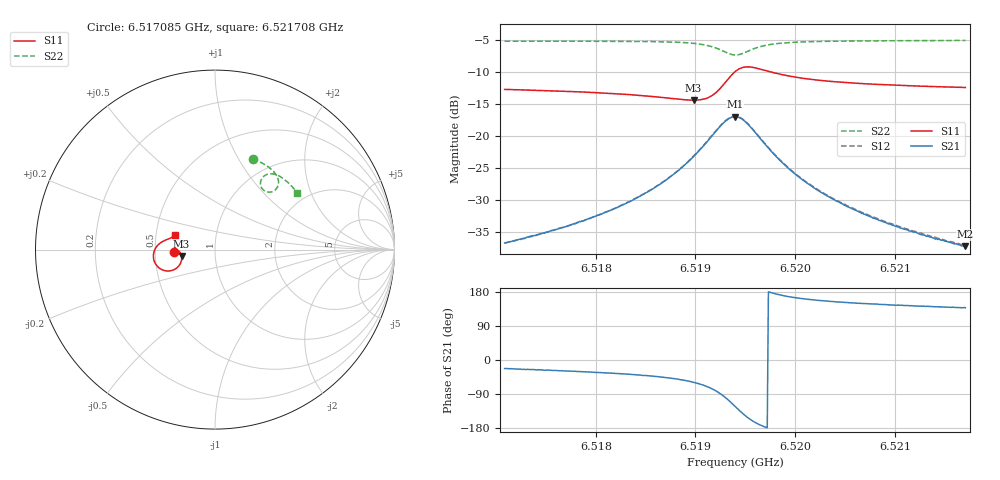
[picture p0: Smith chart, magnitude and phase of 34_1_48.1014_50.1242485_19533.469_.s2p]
#  HZ  S  RI  R  50.00
! Rohde & Schwarz Vector Network Analyzer
! Rohde-Schwarz,ZNB20-2Port,1311601062101988,3.16
! Created: UTC 12/23/2023, 3:38:03 AM
! freq[Hz]  re:S11  im:S11  re:S21  im:S21  re:S12  im:S12  re:S22  im:S22
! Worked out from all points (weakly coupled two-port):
!   401 points, 6.517085 GHz to 6.521708 GHz, reference 50 ohm
!   highest |S21| = -17.02 dB at 6.519397 GHz (marker M1); lowest = -37.3 dB at 6.521708 GHz (marker M2)
!   lowest |S11| = -14.4 dB at 6.518981 GHz (marker M3), VSWR 1.47, Z = 34.2 - j2.48 ohm
!   |S11| at or under -10 dB: start of sweep to 6.519396 GHz; 6.519751 GHz to end of sweep
!   |S22| runs from -7.4 to -5.1 dB; largest |S21 - S12| = 0.0043
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6.5170855e9  -0.23 -0.0155  0.0134 -0.00558  0.0135 -0.00522  0.21 0.507
6.5174668e9  -0.2257 -0.0099  0.0155 -0.00775  0.0157 -0.0071  0.238 0.4947
6.5178598e9  -0.2201 -0.00551  0.0185 -0.011  0.0188 -0.0103  0.2672 0.4795
6.518322e9  -0.2101 -0.00418  0.024 -0.0184  0.0245 -0.0176  0.3021 0.4569
6.5186341e9  -0.2003 -0.00917  0.0296 -0.0289  0.0307 -0.0281  0.3264 0.4354
6.518819e9  -0.1927 -0.0182  0.0336 -0.0407  0.0351 -0.0398  0.3406 0.4171
6.5189808e9  -0.1866 -0.035  0.0357 -0.0589  0.0377 -0.0582  0.3513 0.3942
6.5190848e9  -0.1859 -0.054  0.033 -0.0774  0.0355 -0.077  0.3541 0.3735
6.5191773e9  -0.1935 -0.0787  0.0222 -0.0998  0.0252 -0.1  0.3486 0.3499
6.5193044e9  -0.2374 -0.1154  -0.0224 -0.1289  -0.0189 -0.1307  0.3143 0.3214
6.5193968e9  -0.2963 -0.1116  -0.0751 -0.1193  -0.0723 -0.1223  0.2732 0.3293
6.5194431e9  -0.3218 -0.0925  -0.0957 -0.0998  -0.0937 -0.1034  0.2587 0.346
6.5195009e9  -0.3397 -0.0604  -0.108 -0.07  -0.107 -0.0736  0.2532 0.3708
6.5196049e9  -0.3389 -0.00911  -0.1016 -0.026  -0.1017 -0.0292  0.2678 0.4047
6.5197089e9  -0.322 0.0207  -0.084 -0.00303  -0.0846 -0.00558  0.2909 0.4192
6.5199285e9  -0.2906 0.0459  -0.0548 0.0122  -0.0556 0.0108  0.3302 0.4203
6.5201712e9  -0.2699 0.0553  -0.0373 0.0143  -0.0383 0.0135  0.3591 0.4091
6.5203445e9  -0.2602 0.0591  -0.03 0.014  -0.0307 0.0134  0.3749 0.3994
6.520541e9  -0.2521 0.0623  -0.0242 0.0133  -0.0249 0.0127  0.3902 0.3881
6.5209455e9  -0.2403 0.0681  -0.0169 0.0116  -0.0175 0.0112  0.4165 0.3642
6.5214078e9  -0.2306 0.0745  -0.0119 0.00995  -0.0126 0.00989  0.442 0.336
6.5217082e9  -0.2253 0.0786  -0.0102 0.00921  -0.0105 0.00913  0.4568 0.3173
